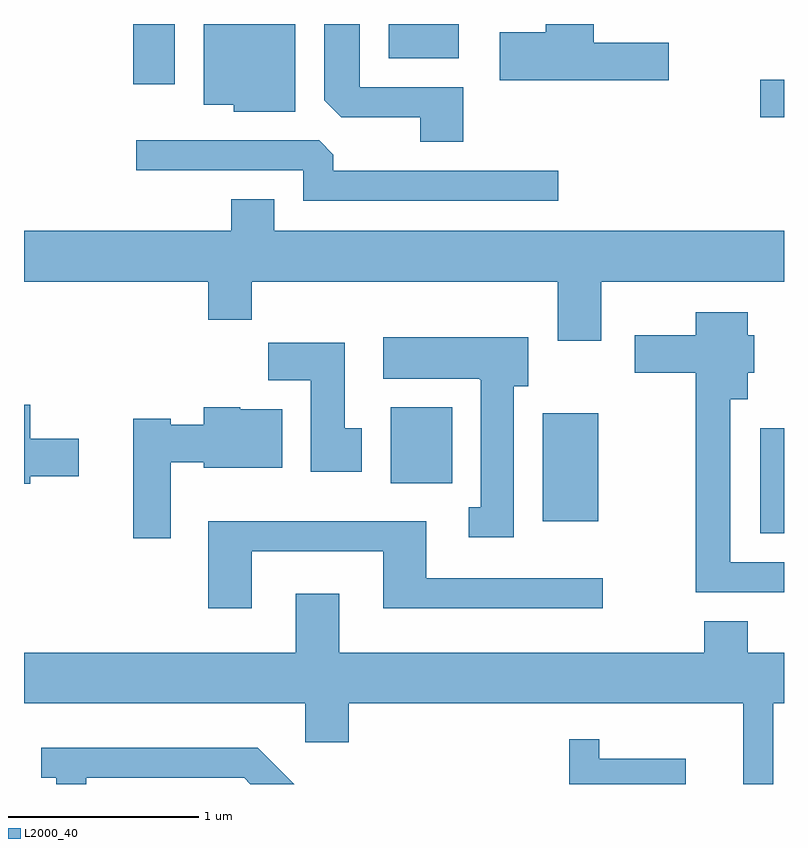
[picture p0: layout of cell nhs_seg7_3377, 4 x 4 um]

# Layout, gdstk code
import gdstk
lib = gdstk.Library(unit=1e-6, precision=1e-09)
def R(c, l, rs):  # rectangles x0, y0, x1, y1
    for r in rs: c.add(gdstk.rectangle(r[:2], r[2:], *l))
def P(c, l, *ps):  # polygons
    for p in ps: c.add(gdstk.Polygon(p, *l))
L2000_40 = (2000, 40)

nhs_seg7_3377 = lib.new_cell('nhs_seg7_3377')
R(nhs_seg7_3377, L2000_40, [(291.486,1799.571,291.611,1800.124), (290.341,1799.636,290.634,1800.204), (289.541,1799.836,289.864,1800.234), (291.486,1801.761,291.611,1801.959), (288.186,1801.936,288.404,1802.252), (289.531,1802.071,289.899,1802.252)])
P(nhs_seg7_3377, L2000_40, [(291.004,1802.154),(290.609,1802.154),(290.609,1802.252),(290.356,1802.252),(290.356,1802.209),(290.116,1802.209),(290.116,1801.956),(291.004,1801.956)],
  [(289.039,1802.252),(288.556,1802.252),(288.556,1801.826),(288.716,1801.826),(288.716,1801.791),(289.039,1801.791)],
  [(289.924,1801.919),(289.379,1801.919),(289.379,1802.252),(289.191,1802.252),(289.191,1801.852),(289.282,1801.761),(289.696,1801.761),(289.696,1801.631),(289.924,1801.631)],
  [(290.423,1801.479),(289.239,1801.479),(289.239,1801.564),(289.164,1801.639),(288.203,1801.639),(288.203,1801.481),(289.081,1801.481),(289.081,1801.321),(290.423,1801.321)],
  [(290.649,1800.896),(291.611,1800.896),(291.611,1801.164),(288.929,1801.164),(288.929,1801.329),(288.701,1801.329),(288.701,1801.164),(287.611,1801.164),(287.611,1800.896),(288.581,1800.896),(288.581,1800.696),(288.809,1800.696),(288.809,1800.896),(290.421,1800.896),(290.421,1800.586),(290.649,1800.586)],
  [(291.611,1799.419),(291.329,1799.419),(291.329,1800.276),(291.419,1800.276),(291.419,1800.416),(291.454,1800.416),(291.454,1800.614),(291.419,1800.614),(291.419,1800.734),(291.146,1800.734),(291.146,1800.614),(290.826,1800.614),(290.826,1800.416),(291.146,1800.416),(291.146,1799.261),(291.611,1799.261)],
  [(290.189,1800.346),(290.264,1800.346),(290.264,1800.604),(289.501,1800.604),(289.501,1800.386),(290.01,1800.386),(290.01,1800.38),(290.016,1800.38),(290.016,1799.709),(289.953,1799.709),(289.953,1799.551),(290.189,1799.551)],
  [(289.389,1800.124),(289.299,1800.124),(289.299,1800.574),(288.896,1800.574),(288.896,1800.376),(289.121,1800.376),(289.121,1799.896),(289.389,1799.896)],
  [(287.644,1799.871),(287.899,1799.871),(287.899,1800.069),(287.644,1800.069),(287.644,1800.249),(287.611,1800.249),(287.611,1799.831),(287.644,1799.831)],
  [(288.384,1799.946),(288.556,1799.946),(288.556,1799.916),(288.969,1799.916),(288.969,1800.224),(288.75,1800.224),(288.75,1800.234),(288.556,1800.234),(288.556,1800.144),(288.384,1800.144),(288.384,1800.174),(288.186,1800.174),(288.186,1799.546),(288.384,1799.546)],
  [(288.809,1799.476),(289.501,1799.476),(289.501,1799.176),(290.658,1799.176),(290.658,1799.334),(289.729,1799.334),(289.729,1799.634),(288.581,1799.634),(288.581,1799.176),(288.809,1799.176)],
  [(291.554,1798.676),(291.611,1798.676),(291.611,1798.944),(291.419,1798.944),(291.419,1799.109),(291.191,1799.109),(291.191,1798.944),(289.269,1798.944),(289.269,1799.254),(289.041,1799.254),(289.041,1798.944),(287.611,1798.944),(287.611,1798.676),(289.091,1798.676),(289.091,1798.471),(289.319,1798.471),(289.319,1798.676),(291.396,1798.676),(291.396,1798.252),(291.554,1798.252)],
  [(291.094,1798.384),(290.639,1798.384),(290.639,1798.488),(290.481,1798.488),(290.481,1798.252),(291.094,1798.252)],
  [(287.939,1798.286),(288.769,1798.286),(288.803,1798.252),(289.034,1798.252),(288.842,1798.444),(287.703,1798.444),(287.703,1798.286),(287.781,1798.286),(287.781,1798.252),(287.939,1798.252)])

lib.write_gds('nhs_seg7_3377.gds')
